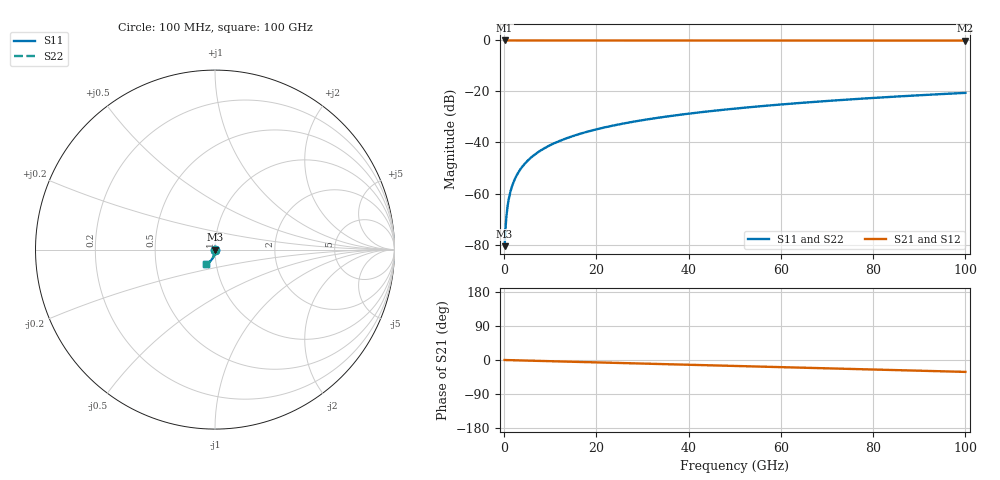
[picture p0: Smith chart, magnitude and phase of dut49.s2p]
! Touchstone file exported from HFSS 2026.1.0
!  File:  C:/ffzhzh/LocalFiles/Ansys_Project_Files/temp_train_TSV_49_1783504925_31944.aedt
!  Generated:  06:03:14 PM Jul  8, 2026
!  Design:  TSV
!  Project:  temp_train_TSV_49_1783504925_31944
! Variables:
!  h_bsmrdl = 2um
!  h_ox = 20um
!  h_rdl = 5um
!  h_sub = 60.35um
!  h_tmrdl = 5um
!  h_tsv = 60.35um
!  h_via = 3um
!  l_bsmrdl = 300um
!  l_sub = 425.92um
!  l_tmrdl = 200um
!  m_sub = 200um
!  pitch = 44.12um
!  r_tsv = 12.96um
!  s_tmrdl = 10um
!  w_bsmrdl = 18um
!  w_sub = 500um
!  w_tmrdl = 12um
!  x_tsv_center1 = 206um
!  x_tsv_center2 = 524um
!  x_tsv_center3 = 736um
!  x_tsv_center4 = 1054um
!  x_tsv_center5 = 1266um
!  x_tsv_center6 = 1584um
# GHz S MA R 50.000000
! Terminal data exported
! Port[1] = TSV1_1_T1
! Port[2] = TSV1_1_T2
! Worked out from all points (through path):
!   1000 points, 100 MHz to 100 GHz, reference 50 ohm
!   highest |S21| = 0.00 dB at 100 MHz (marker M1); lowest = -0.1 dB at 100 GHz (marker M2)
!   group delay of S21, straight-line fit = 871 fs
!   lowest |S11| = -80.6 dB at 100 MHz (marker M3), VSWR 1.00, Z = 50 - j0.00567 ohm
!   |S11| at or under -10 dB: start of sweep to end of sweep
!   |S22| runs from -80.6 to -20.5 dB; largest |S21 - S12| = 1.2e-15
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0.1  9.281e-05 -37.7  0.9999 -0.0  0.9999 -0.0  9.281e-05 -37.7
! Gamma 0 0 0 0
! Port Impedance 50 0 50 0
0.4  0.0002825 -65.1  0.9999 -0.1  0.9999 -0.1  0.0002825 -65.1
0.7  0.0005235 -71.8  0.9998 -0.2  0.9998 -0.2  0.0005235 -71.8
0.9  0.0006919 -74.4  0.9998 -0.3  0.9998 -0.3  0.0006919 -74.4
1.1  0.0008622 -76.4  0.9998 -0.4  0.9998 -0.4  0.0008622 -76.4
1.4  0.001119 -78.4  0.9998 -0.4  0.9998 -0.4  0.001119 -78.4
1.8  0.001464 -80.3  0.9997 -0.6  0.9997 -0.6  0.001464 -80.3
2.4  0.001988 -82.0  0.9997 -0.8  0.9997 -0.8  0.001988 -82.0
3.1  0.002607 -83.4  0.9997 -1.0  0.9997 -1.0  0.002607 -83.4
3.9  0.003322 -84.5  0.9996 -1.2  0.9996 -1.2  0.003322 -84.5
4.9  0.004223 -85.6  0.9996 -1.6  0.9996 -1.6  0.004223 -85.6
6  0.00522 -86.6  0.9995 -1.9  0.9995 -1.9  0.005219 -86.6
8.8  0.00777 -88.4  0.9994 -2.8  0.9994 -2.8  0.00777 -88.4
12.4  0.01107 -90.2  0.9992 -3.9  0.9992 -3.9  0.01107 -90.2
16.8  0.01513 -92.1  0.9991 -5.3  0.9991 -5.3  0.01513 -92.1
24.1  0.0219 -95.0  0.9988 -7.6  0.9988 -7.6  0.0219 -95.0
33.4  0.03056 -98.3  0.9984 -10.5  0.9984 -10.5  0.03056 -98.3
41.2  0.03785 -101.0  0.998 -12.9  0.998 -12.9  0.03785 -101.0
50.1  0.04622 -103.9  0.9975 -15.7  0.9975 -15.7  0.04622 -104.0
66.7  0.06195 -109.4  0.9964 -20.9  0.9964 -20.9  0.06195 -109.4
83.4  0.07795 -114.8  0.995 -26.2  0.995 -26.2  0.07794 -114.8
100  0.0939 -120.3  0.9933 -31.4  0.9933 -31.4  0.0939 -120.3
